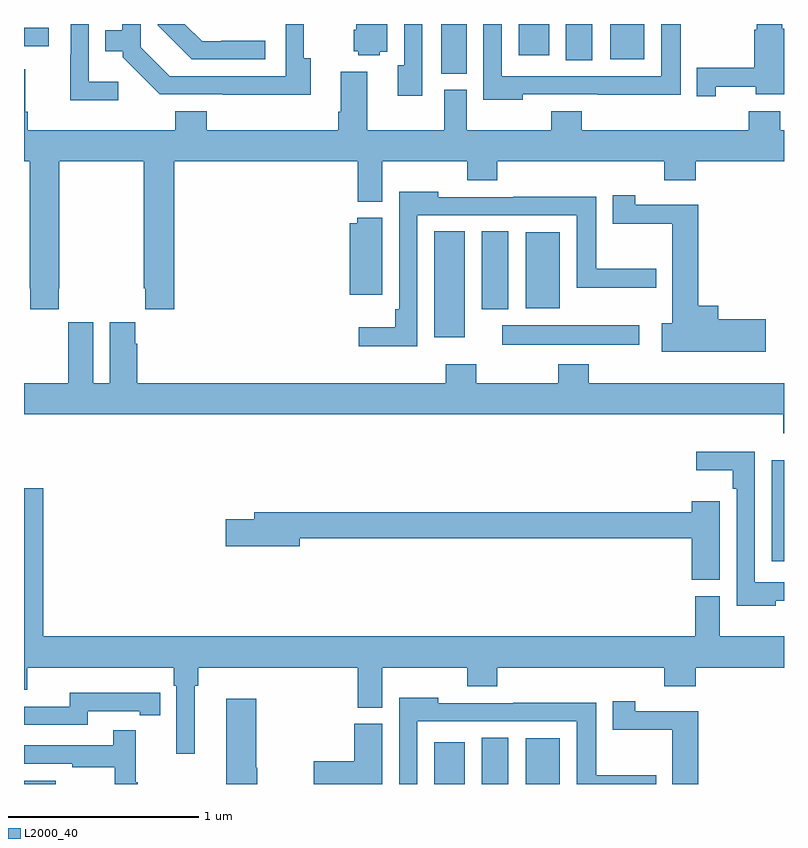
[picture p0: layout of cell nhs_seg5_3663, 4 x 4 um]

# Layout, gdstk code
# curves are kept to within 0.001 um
import gdstk
lib = gdstk.Library(unit=1e-6, precision=1e-09)
def R(c, l, rs):  # rectangles x0, y0, x1, y1
    for r in rs: c.add(gdstk.rectangle(r[:2], r[2:], *l))
def P(c, l, *ps):  # polygons
    for p in ps: c.add(gdstk.Polygon(p, *l))
L2000_40 = (2000, 40)

nhs_seg5_3663 = lib.new_cell('nhs_seg5_3663')
R(nhs_seg5_3663, L2000_40, [(327,870.799,327.166,870.817), (329.159,870.799,329.32,871.018), (329.408,870.799,329.548,871.043), (329.642,870.799,329.821,871.039), (330.935,871.971,331,872.503), (329.517,873.11,330.238,873.214), (329.159,873.15,329.32,873.707), (329.408,873.299,329.548,873.707), (329.642,873.302,329.821,873.703), (329.195,874.537,329.329,874.799), (329.852,874.609,329.992,874.799), (330.086,874.613,330.265,874.799), (329.603,874.635,329.764,874.799), (327,874.683,327.13,874.779)])
P(nhs_seg5_3663, L2000_40, [(328.51,874.618),(328.473,874.618),(328.473,874.799),(328.377,874.799),(328.377,874.524),(327.768,874.524),(327.615,874.677),(327.615,874.799),(327.518,874.799),(327.518,874.765),(327.427,874.765),(327.427,874.655),(327.519,874.655),(327.519,874.623),(327.714,874.428),(328.51,874.427)],
  [(328.872,874.652),(328.912,874.652),(328.912,874.799),(328.748,874.799),(328.748,874.77),(328.736,874.77),(328.736,874.656),(328.758,874.656),(328.758,874.634),(328.872,874.634)],
  [(329.097,874.799),(329.001,874.799),(329.001,874.583),(328.967,874.583),(328.967,874.422),(329.097,874.422)],
  [(330.642,874.468),(330.851,874.468),(330.851,874.43),(331,874.43),(331,874.774),(330.992,874.774),(330.992,874.799),(330.857,874.799),(330.857,874.77),(330.844,874.77),(330.844,874.569),(330.542,874.569),(330.542,874.419),(330.642,874.419)],
  [(329.625,874.428),(330.019,874.428),(330.019,874.427),(330.457,874.427),(330.457,874.799),(330.353,874.799),(330.353,874.524),(329.514,874.524),(329.514,874.799),(329.418,874.799),(329.418,874.4),(329.625,874.4)],
  [(327.496,874.495),(327.342,874.495),(327.342,874.799),(327.246,874.799),(327.246,874.637),(327.244,874.637),(327.244,874.397),(327.496,874.397)],
  [(328.27,874.71),(328.039,874.71),(328.039,874.707),(327.939,874.707),(327.847,874.799),(327.705,874.799),(327.705,874.793),(327.884,874.614),(328.27,874.614)],
  [(328.757,873.863),(328.885,873.863),(328.885,874.076),(329.332,874.076),(329.332,873.977),(329.492,873.977),(329.492,874.076),(330.371,874.076),(330.371,873.977),(330.536,873.977),(330.536,874.076),(331,874.076),(331,874.24),(330.98,874.24),(330.98,874.339),(330.815,874.339),(330.815,874.24),(329.936,874.24),(329.936,874.339),(329.776,874.339),(329.776,874.24),(329.329,874.24),(329.329,874.452),(329.213,874.452),(329.213,874.24),(328.807,874.24),(328.807,874.549),(328.667,874.549),(328.667,874.336),(328.655,874.336),(328.655,874.24),(327.962,874.24),(327.962,874.339),(327.797,874.339),(327.797,874.24),(327.02,874.24),(327.02,874.336),(327.007,874.336),(327.007,874.561),(327,874.561),(327,874.076),(327.031,874.076),(327.031,873.409),(327.033,873.409),(327.033,873.297),(327.183,873.297),(327.183,873.409),(327.186,873.409),(327.186,874.076),(327.631,874.076),(327.631,873.409),(327.637,873.409),(327.637,873.297),(327.791,873.297),(327.791,874.076),(328.757,874.076)],
  [(329.07,873.792),(329.909,873.792),(329.909,873.41),(330.328,873.41),(330.328,873.51),(330.013,873.51),(330.013,873.89),(329.575,873.89),(329.575,873.888),(329.181,873.888),(329.181,873.916),(328.974,873.916),(328.974,873.298),(328.954,873.298),(328.954,873.202),(328.761,873.202),(328.761,873.104),(329.07,873.104)],
  [(330.904,873.245),(330.655,873.245),(330.655,873.316),(330.548,873.316),(330.548,873.847),(330.216,873.847),(330.216,873.898),(330.098,873.898),(330.098,873.748),(330.413,873.748),(330.413,873.224),(330.357,873.224),(330.357,873.074),(330.904,873.074)],
  [(328.885,873.778),(328.755,873.778),(328.755,873.75),(328.715,873.75),(328.715,873.374),(328.885,873.374)],
  [(331,872.908),(329.972,872.908),(329.972,873.007),(329.812,873.007),(329.812,872.908),(329.379,872.908),(329.379,873.007),(329.219,873.007),(329.219,872.908),(327.596,872.908),(327.596,873.116),(327.586,873.116),(327.586,873.229),(327.452,873.229),(327.452,872.908),(327.364,872.908),(327.364,873.229),(327.234,873.229),(327.234,873.116),(327.233,873.116),(327.233,872.908),(327,872.908),(327,872.744),(330.995,872.744),(330.995,872.645),(331,872.645)],
  [(330.957,871.764),(331,871.764),(331,871.86),(330.846,871.86),(330.846,872.549),(330.537,872.549),(330.537,872.45),(330.73,872.45),(330.73,872.354),(330.75,872.354),(330.75,871.736),(330.957,871.736)],
  [(327.898,871.316),(327.917,871.316),(327.917,871.412),(328.757,871.412),(328.757,871.201),(328.885,871.201),(328.885,871.412),(329.332,871.412),(329.332,871.313),(329.492,871.313),(329.492,871.412),(330.371,871.412),(330.371,871.313),(330.536,871.313),(330.536,871.412),(331,871.412),(331,871.576),(330.661,871.576),(330.661,871.788),(330.533,871.788),(330.533,871.576),(327.101,871.576),(327.101,872.356),(327,872.356),(327,871.295),(327.016,871.295),(327.016,871.412),(327.788,871.412),(327.788,871.316),(327.801,871.316),(327.801,870.957),(327.898,870.957)],
  [(330.661,872.287),(330.515,872.287),(330.515,872.228),(328.211,872.228),(328.211,872.192),(328.062,872.192),(328.062,872.05),(328.45,872.05),(328.45,872.092),(330.515,872.092),(330.515,871.873),(330.661,871.873)],
  [(327.336,871.182),(327.608,871.182),(327.608,871.162),(327.716,871.162),(327.716,871.278),(327.608,871.278),(327.608,871.279),(327.24,871.279),(327.24,871.206),(327,871.206),(327,871.11),(327.336,871.11)],
  [(329.07,871.128),(329.909,871.128),(329.909,870.799),(330.328,870.799),(330.328,870.846),(330.013,870.846),(330.013,871.226),(329.575,871.226),(329.575,871.224),(329.181,871.224),(329.181,871.252),(328.974,871.252),(328.974,870.799),(329.07,870.799)],
  [(328.228,870.885),(328.223,870.885),(328.223,871.249),(328.064,871.249),(328.064,870.799),(328.228,870.799)],
  [(330.548,871.183),(330.216,871.183),(330.216,871.234),(330.098,871.234),(330.098,871.084),(330.413,871.084),(330.413,870.799),(330.548,870.799)],
  [(328.885,871.116),(328.739,871.116),(328.739,870.92),(328.524,870.92),(328.524,870.799),(328.885,870.799)],
  [(327.598,870.809),(327.587,870.809),(327.587,871.081),(327.469,871.081),(327.469,871.002),(327,871.002),(327,870.906),(327.253,870.906),(327.253,870.886),(327.477,870.886),(327.477,870.799),(327.598,870.799)])

lib.write_gds('nhs_seg5_3663.gds')
